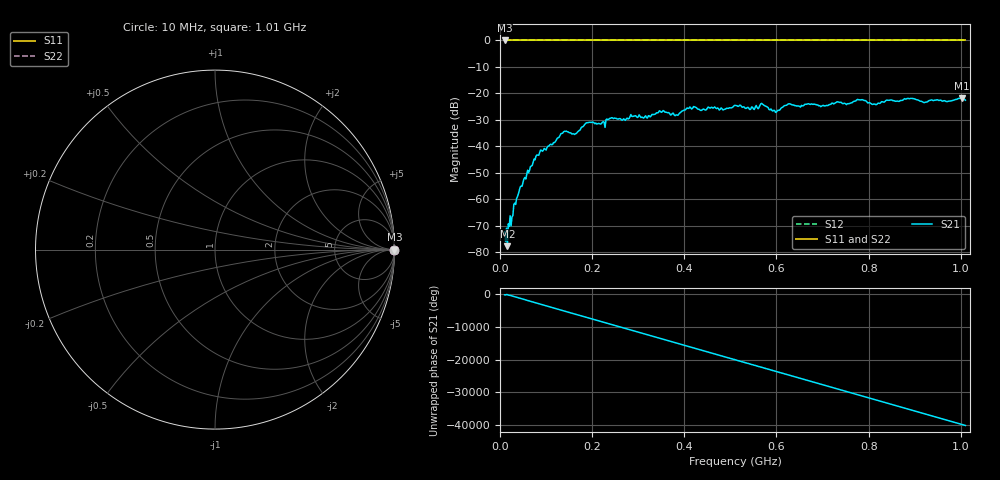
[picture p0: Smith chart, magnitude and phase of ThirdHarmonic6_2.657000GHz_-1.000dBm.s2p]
! 8/17/2025 6:06:11 AM
! C:\ANRITSUVNA\TEMP\TEMP.S2P
! CHANNEL.1
! TR.MEASUREMENT
! RAW.DATA
! RF.CORRECTION.OFF
! AVERAGING.OFF
! IF.BANDWIDTH: 5KHZ
! SWEEPTYPE:  FREQ.SWEEP(Linear)
! Reference Plane Port Info
! PORT:  PORT1  PORT2
! DISTANCE:  0  m  0  m
! TIME:  0  s  0  s
! PHASE.OFFSET:  0  deg.  0  deg.
! LOSS:  0  dB  0  dB
! REF.LOSS:  0  dB  0  dB
! REF.FREQ:  0  Hz  0  Hz
! Power Info
! POWER:  -20  dBm  -20  dBm
! EFF.POWER:  -20  dBm  -20  dBm
! SOURCE.ATTEN:  0  dB  0  dB
! TEST.ATTEN:  0  dB  0  dB
# GHZ S RI R 50.0
! FREQ.GHZ  S11RE  S11IM  S21RE  S21IM  S12RE  S12IM  S22RE  S22IM
!; PortSelection: Port_12
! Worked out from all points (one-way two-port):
!   501 points, 10 MHz to 1.01 GHz, reference 50 ohm
!   highest |S21| = -21.82 dB at 1.002 GHz (marker M1); lowest = -77.7 dB at 16 MHz (marker M2)
!   lowest |S11| = 0.0 dB at 10 MHz (marker M3)
!   |S11| at or under -10 dB: nowhere
!   |S22| runs from 0.0 to 0.0 dB; largest |S21 - S12| = 1.1
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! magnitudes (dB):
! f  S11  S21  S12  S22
! 10 MHz  0.0  -72.3  0.0  0.0
! 16 MHz  0.0  -77.7  0.0  0.0
! 42 MHz  0.0  -56.6  0.0  0.0
! 78 MHz  0.0  -43.7  0.0  0.0
! 136 MHz  0.0  -35.0  0.0  0.0
! 162 MHz  0.0  -35.5  0.0  0.0
! 178 MHz  0.0  -32.7  0.0  0.0
! 192 MHz  0.0  -31.0  0.0  0.0
! 344 MHz  0.0  -27.1  0.0  0.0
! 382 MHz  0.0  -28.1  0.0  0.0
! 410 MHz  0.0  -25.6  0.0  0.0
! 510 MHz  0.0  -24.5  0.0  0.0
! 548 MHz  0.0  -25.2  0.0  0.0
! 570 MHz  0.0  -24.1  0.0  0.0
! 596 MHz  0.0  -26.5  0.0  0.0
! 626 MHz  0.0  -23.9  0.0  0.0
! 678 MHz  0.0  -24.1  0.0  0.0
! 780 MHz  0.0  -22.4  0.0  0.0
! 814 MHz  0.0  -24.1  0.0  0.0
! 844 MHz  0.0  -22.6  0.0  0.0
! 1.002 GHz  0.0  -21.8  0.0  0.0
! 1.01 GHz  0.0  -22.6  0.0  0.0
